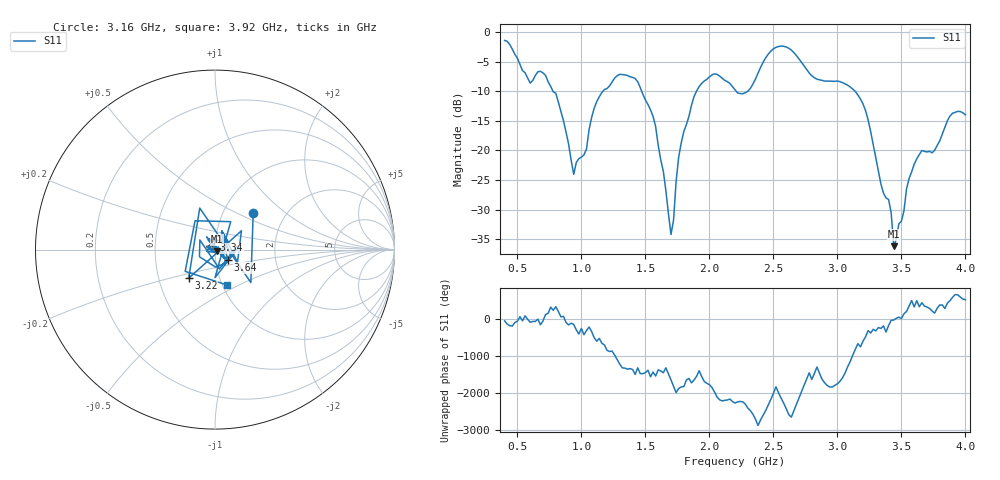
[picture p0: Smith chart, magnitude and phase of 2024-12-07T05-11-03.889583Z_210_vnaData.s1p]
!Created with skrf (http://scikit-rf.org).
# Hz S RI R 50.0
!freq ReS11 ImS11
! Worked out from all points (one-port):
!   181 points, 400 MHz to 4 GHz, reference 50 ohm
!   lowest |S11| = -36.2 dB at 3.44 GHz (marker M1), VSWR 1.03, Z = 51.2 - j1.02 ohm
!   |S11| at or under -10 dB: 777.6 MHz to 1.169 GHz (391.4 MHz wide, 40.2 % of centre); 1.47 GHz to 1.899 GHz (429 MHz wide, 25.5 % of centre); 3.138 GHz to end of sweep (the widest 3 of 4)
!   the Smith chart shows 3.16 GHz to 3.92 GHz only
!   S11 on the Smith chart (normalised r, x): 3.16 GHz: 1.38, +0.61; 3.22 GHz: 0.71, -0.24; 3.34 GHz: 0.99, +0.10; 3.64 GHz: 1.15, -0.13; 3.92 GHz: 1.05, -0.44
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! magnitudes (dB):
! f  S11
! 400 MHz  -1.4
! 600 MHz  -8.6
! 720 MHz  -7.3
! 860 MHz  -15.0
! 940 MHz  -24.1
! 1.04 GHz  -19.8
! 1.12 GHz  -11.8
! 1.3 GHz  -7.2
! 1.44 GHz  -8.4
! 1.56 GHz  -14.3
! 1.7 GHz  -34.2
! 1.76 GHz  -21.1
! 1.94 GHz  -8.7
! 2.2 GHz  -9.8
! 2.3 GHz  -10.0
! 2.5 GHz  -2.9
! 2.66 GHz  -3.5
! 3.1 GHz  -9.3
! 3.16 GHz  -10.7
! 3.22 GHz  -13.3
! 3.34 GHz  -25.7
! 3.4 GHz  -28.3
! 3.44 GHz  -36.2
! 3.56 GHz  -24.8
! 3.64 GHz  -20.7
! 3.76 GHz  -20.0
! 3.92 GHz  -13.6
! 4 GHz  -14.0
